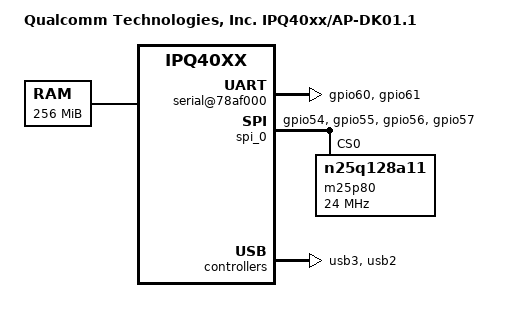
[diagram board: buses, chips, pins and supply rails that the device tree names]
/* Copyright (c) 2015, The Linux Foundation. All rights reserved.
 *
 * Permission to use, copy, modify, and/or distribute this software for any
 * purpose with or without fee is hereby granted, provided that the above
 * copyright notice and this permission notice appear in all copies.
 *
 * THE SOFTWARE IS PROVIDED "AS IS" AND THE AUTHOR DISCLAIMS ALL WARRANTIES
 * WITH REGARD TO THIS SOFTWARE INCLUDING ALL IMPLIED WARRANTIES OF
 * MERCHANTABILITY AND FITNESS. IN NO EVENT SHALL THE AUTHOR BE LIABLE FOR
 * ANY SPECIAL, DIRECT, INDIRECT, OR CONSEQUENTIAL DAMAGES OR ANY DAMAGES
 * WHATSOEVER RESULTING FROM LOSS OF USE, DATA OR PROFITS, WHETHER IN AN
 * ACTION OF CONTRACT, NEGLIGENCE OR OTHER TORTIOUS ACTION, ARISING OUT OF
 * OR IN CONNECTION WITH THE USE OR PERFORMANCE OF THIS SOFTWARE.
 *
 */

#include "qcom-ipq40xx.dtsi"
#include <dt-bindings/input/input.h>
#include <dt-bindings/gpio/gpio.h>

/ {
	model = "Qualcomm Technologies, Inc. IPQ40xx/AP-DK01.1";
	compatible = "qcom,ipq40xx-apdk01.1", "qcom,ipq40xx";

	memory {
		device_type = "memory";
		reg = <0x80000000 0x10000000>; /* 256MB */
	};

	reserved-memory {
		#address-cells = <1>;
		#size-cells = <1>;
		ranges;
		rsvd1@87E00000 {
			/* Reserved for other subsystem */
			reg = <0x87E00000 0x200000>;
			no-map;
		};
	};

	chosen {
		bootargs-append = " clk_ignore_unused";
	};

};
	&soc {
		pinctrl@0x01000000 {
			mdio_pins: mdio_pinmux {
				mux_1 {
					pins = "gpio53";
					function = "mdio1";
					bias-pull-up;
				};
				mux_2 {
					pins = "gpio52";
					function = "mdc";
					bias-pull-up;
				};
			};

			serial_pins: serial_pinmux {
				mux {
					pins = "gpio60", "gpio61";
					function = "blsp_uart0";
					bias-disable;
				};
			};

			spi_0_pins: spi_0_pinmux {
				mux {
					pins = "gpio54", "gpio55", "gpio56", "gpio57";
					function = "blsp_spi0";
					bias-disable;
				};
			};

			wps_pins: wps_pinmux {
				mux {
					pins = "gpio63";
					bias-pull-up;
				};
			};
		};

		serial@78af000 {
			pinctrl-0 = <&serial_pins>;
			pinctrl-names = "default";
			status = "ok";
		};

		spi_0: spi@78b5000 { /* BLSP1 QUP1 */
			pinctrl-0 = <&spi_0_pins>;
			pinctrl-names = "default";
			status = "ok";

			m25p80@0 {
				#address-cells = <1>;
				#size-cells = <1>;
				compatible = "n25q128a11";
				reg = <0>;
				linux,modalias = "m25p80", "n25q128a11";
				spi-max-frequency = <24000000>;
				use-default-sizes;
			};
		};

		tcsr: tcsr@194b000 {
			status = "ok";
		};

		usb3_ss_phy: ssphy@0 {
			status = "ok";
		};

		dummy_ss_phy: ssphy@1 {
			status = "ok";
		};

		usb3_hs_phy: hsphy@a6000 {
			status = "ok";
		};

		usb2_hs_phy: hsphy@a8000 {
			status = "ok";
		};

		usb3: usb3@8a00000 {
			status = "ok";
		};

		usb2: usb2@6000000 {
			status = "ok";
		};

		qcom_crypto: qcrypto@8e20000 {
			status = "ok";
		};

		qcom_cedev: qcedev@8e20000 {
			status = "ok";
		};

		ess-switch@c000000 {
			switch_mac_mode = <0x0>; /* mac mode for RGMII RMII */
			switch_initvlas = <
				0x0007c 0x54 /* PORT0_STATUS */
			>;
		};
/*
		gpio_keys {
			pinctrl-0 = <&wps_pins>;
			pinctrl-names = "default";
			compatible = "gpio-keys";

			button@1 {
				label = "wps";
				linux,code = <KEY_WPS_BUTTON>;
				gpios = <&tlmm 63 GPIO_ACTIVE_LOW>;
				linux,input-type = <1>;
			};

		};
*/
		wifi0: wifi@a000000 {
			wifi-led-gpios = <&tlmm 58 GPIO_ACTIVE_LOW>;
		};

		wifi1: wifi@a800000 {
			wifi-led-gpios = <&tlmm 58 GPIO_ACTIVE_LOW>;
		};

	};
